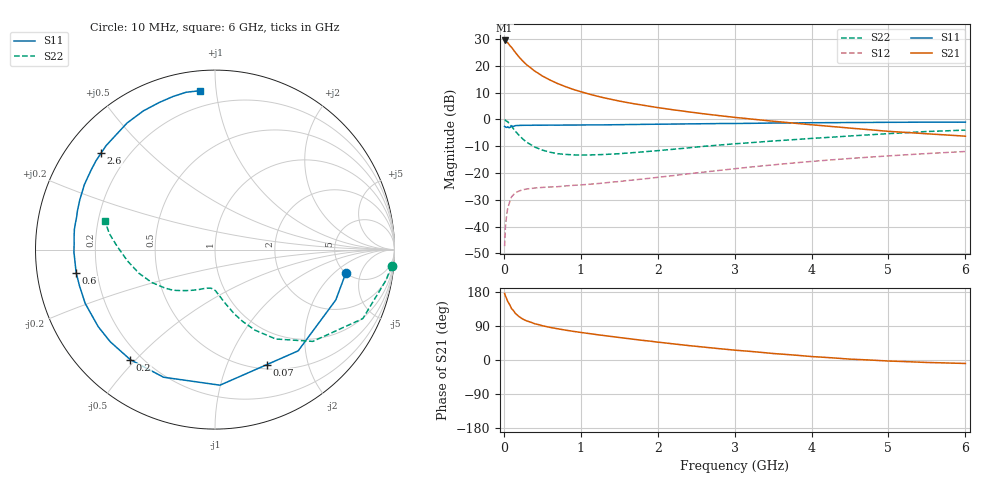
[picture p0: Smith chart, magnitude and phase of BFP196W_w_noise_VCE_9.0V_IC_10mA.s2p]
! Infineon Technologies  Discrete & RF Semiconductors
! BFP196W
! VCE =  9.0 V,  IC =  10 mA
! Common Emitter S-Parameters:  Jan 2017
# GHz  S  MA  R  50
!  f  S11  S21  S12  S22
! GHz  MAG  ANG  MAG  ANG  MAG  ANG  MAG  ANG
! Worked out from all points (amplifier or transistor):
!   77 points, 10 MHz to 6 GHz, reference 50 ohm
!   highest |S21| = 29.5 dB at 10 MHz (marker M1)
!   |S21| within 3 dB of that: start of sweep to 111.3 MHz
!   unconditionally stable (mu >= 1): 1.269 GHz to 3.143 GHz
!   at 130 MHz: K = 0.15, MSG = 26.9 dB, |S12| = -28.0 dB
!   at 2.2 GHz: K = 1.09, MAG = 10.4 dB, |S12| = -21.0 dB
!   at 6 GHz: K = 0.86, MSG = 2.9 dB, |S12| = -12.0 dB
!   lowest NFmin = 0.91 dB at 450 MHz
!   S11 on the Smith chart (normalised r, x): 10 MHz: 5.00, -2.88; 70 MHz: 0.55, -1.40; 200 MHz: 0.16, -0.48; 600 MHz: 0.12, -0.08; 2.6 GHz: 0.10, +0.36; 6 GHz: 0.11, +0.90
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0.01  0.7406 -10.1  29.88 175.5  0.0043 85.8  0.9892 -5.3
0.02  0.7292 -22.6  29.32 169.5  0.0096 80.5  0.9669 -10.3
0.05  0.7301 -50.6  27.18 154.8  0.0217 66.9  0.909 -25.0
0.07  0.7029 -65.7  24.88 148.1  0.0271 58.5  0.8345 -31.4
0.1  0.7559 -87.9  22.23 135.7  0.0358 50.9  0.747 -43.2
0.15  0.7667 -112.0  17.82 123.0  0.0429 40.4  0.6023 -55.8
0.2  0.7738 -127.6  14.53 114.1  0.0462 34.3  0.5011 -63.6
0.25  0.7774 -138.7  12.15 107.6  0.0489 30.9  0.427 -69.1
0.3  0.7797 -146.6  10.39 102.9  0.0503 28.4  0.3733 -73.3
0.4  0.7829 -157.5  8.029 95.7  0.0524 25.7  0.3062 -79.1
0.5  0.7816 -165.0  6.491 90.5  0.0538 25.8  0.2678 -83.3
0.6  0.7843 -170.6  5.45 86.1  0.0548 26.2  0.2446 -86.6
0.7  0.783 -175.0  4.681 82.4  0.0555 27.1  0.2294 -89.3
0.8  0.7861 -179.0  4.11 78.9  0.0573 29.1  0.2227 -91.7
1.1  0.7914 171.9  3.004 70.0  0.0615 33.5  0.2172 -98.6
1.5  0.7988 162.1  2.209 59.4  0.0693 39.4  0.2294 -107.8
2.1  0.817 149.2  1.591 45.0  0.0861 46.6  0.2691 -122.3
2.6  0.8319 139.8  1.274 34.0  0.1039 49.2  0.3148 -133.7
3.1  0.8434 131.3  1.059 24.4  0.1244 49.6  0.3591 -144.5
4.1  0.8703 116.0  0.774 7.9  0.1688 45.8  0.4514 -164.7
5.1  0.8853 104.3  0.588 -3.4  0.213 38.9  0.5534 176.9
6  0.8891 95.4  0.487 -9.2  0.2522 31.4  0.6326 165.6
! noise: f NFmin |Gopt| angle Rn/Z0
0.45  0.91  0.36  146  0.06
0.9  1.19  0.53  168  0.05
1.9  2.27  0.71  -158  0.1
2.4  2.77  0.76  -149  0.22
